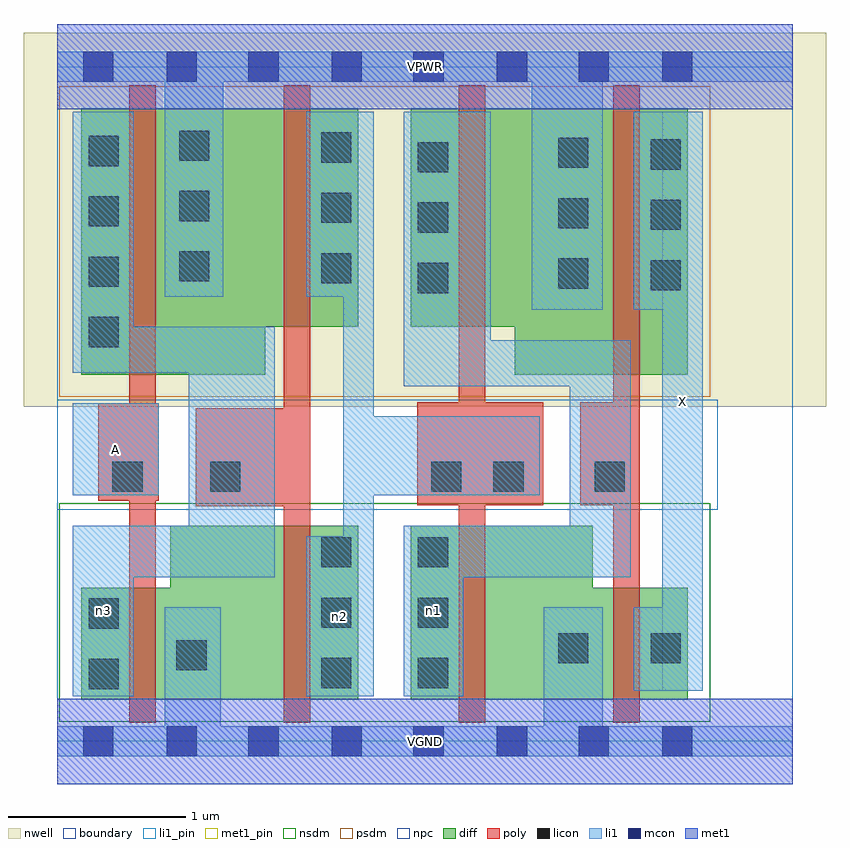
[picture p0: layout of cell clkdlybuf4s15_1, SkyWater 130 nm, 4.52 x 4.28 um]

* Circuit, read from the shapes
.subckt clkdlybuf4s15_1 A VGND VPWR X n1 n2 n3
XM1 VGND A n3 VSUBS sky130_fd_pr__nfet_01v8 w=0.63 l=0.15
XM2 n2 n3 VGND VSUBS sky130_fd_pr__nfet_01v8 w=0.98 l=0.15
XM3 VGND n2 n1 VSUBS sky130_fd_pr__nfet_01v8 w=0.98 l=0.15
XM4 X n1 VGND VSUBS sky130_fd_pr__nfet_01v8 w=0.63 l=0.15
XM5 VPWR A n3 n4 sky130_fd_pr__pfet_01v8 w=1.5 l=0.15
XM6 n2 n3 VPWR n4 sky130_fd_pr__pfet_01v8 w=1.23 l=0.15
XM7 VPWR n2 n1 n4 sky130_fd_pr__pfet_01v8 w=1.23 l=0.15
XM8 X n1 VPWR n4 sky130_fd_pr__pfet_01v8 w=1.5 l=0.15
.ends

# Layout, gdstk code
import gdstk
lib = gdstk.Library(unit=1e-6, precision=1e-09)
def R(c, l, rs):  # rectangles x0, y0, x1, y1
    for r in rs: c.add(gdstk.rectangle(r[:2], r[2:], *l))
def A(c, l, x, y, w, h, nx, ny, dx, dy):  # array of equal rectangles
    R(c, l, [(x+i*dx, y+j*dy, x+i*dx+w, y+j*dy+h) for i in range(nx) for j in range(ny)])
nwell = (64, 20)
diff = (65, 20)
poly = (66, 20)
licon = (66, 44)
li1_pin = (67, 16)
li1 = (67, 20)
mcon = (67, 44)
met1_pin = (68, 16)
met1 = (68, 20)
nsdm = (93, 44)
psdm = (94, 20)
npc = (95, 20)
boundary = (235, 4)

clkdlybuf4s15_1 = lib.new_cell('clkdlybuf4s15_1')
R(clkdlybuf4s15_1, nwell, [(-0.19,1.885,4.33,3.99), (0,1.885,4.14,3.99)])
R(clkdlybuf4s15_1, diff, [(0.135,0.235,1.695,0.865), (0.635,0.235,1.695,1.215), (1.99,0.235,3.55,0.865), (1.99,0.235,3.015,1.215), (0.135,2.065,1.17,3.565), (2.575,2.065,3.55,3.565), (0.135,2.335,1.695,3.565), (1.99,2.335,3.55,3.565)])
R(clkdlybuf4s15_1, poly, [(0.405,0.105,0.555,3.695), (1.275,0.105,1.425,3.695), (2.26,0.105,2.41,3.695), (3.13,0.105,3.28,3.695), (0.78,1.325,1.425,1.875), (2.025,1.33,2.735,1.91), (2.945,1.33,3.28,1.91), (0.23,1.355,0.57,1.905)])
A(clkdlybuf4s15_1, licon, 1.485, 0.3, 0.17, 0.17, 1, 3, 0, 0.34)
A(clkdlybuf4s15_1, licon, 2.03, 0.3, 0.17, 0.17, 1, 3, 0, 0.34)
A(clkdlybuf4s15_1, licon, 0.175, 2.22, 0.17, 0.17, 1, 4, 0, 0.34)
A(clkdlybuf4s15_1, licon, 2.03, 2.525, 0.17, 0.17, 1, 3, 0, 0.34)
A(clkdlybuf4s15_1, licon, 3.34, 2.54, 0.17, 0.17, 1, 3, 0, 0.34)
A(clkdlybuf4s15_1, licon, 2.82, 2.55, 0.17, 0.17, 1, 3, 0, 0.34)
A(clkdlybuf4s15_1, licon, 1.485, 2.58, 0.17, 0.17, 1, 3, 0, 0.34)
A(clkdlybuf4s15_1, licon, 0.685, 2.59, 0.17, 0.17, 1, 3, 0, 0.34)
R(clkdlybuf4s15_1, licon, [(0.175,0.295,0.345,0.465), (0.67,0.4,0.84,0.57), (2.82,0.44,2.99,0.61), (3.34,0.44,3.51,0.61), (0.175,0.635,0.345,0.805), (0.31,1.405,0.48,1.575), (0.86,1.405,1.03,1.575), (2.105,1.405,2.275,1.575), (2.455,1.405,2.625,1.575), (3.025,1.405,3.195,1.575)])
R(clkdlybuf4s15_1, li1_pin, [(3.405,0.285,3.635,3.545), (0.085,1.385,0.57,1.905)])
R(clkdlybuf4s15_1, li1, [(0,-0.085,4.14,0.085), (0.605,-0.085,0.92,0.755), (2.74,-0.085,3.07,0.755), (0.085,0.255,0.43,1.215), (1.4,0.255,1.78,1.155), (1.61,0.255,1.78,3.545), (1.95,0.255,2.285,1.215), (3.245,0.285,3.635,0.755), (3.405,0.285,3.635,3.545), (0.085,0.925,1.225,1.215), (0.74,0.925,1.225,2.335), (1.95,0.925,3.23,1.215), (2.885,0.925,3.23,2.26), (0.085,1.385,0.57,1.905), (1.61,1.385,2.715,1.83), (1.95,2,2.44,3.545), (1.95,2,3.23,2.26), (0.085,2.075,0.43,3.545), (0.085,2.075,1.225,2.335), (2.67,2.43,3.07,3.885), (3.245,2.43,3.635,3.545), (0.605,2.505,0.935,3.885), (1.4,2.505,1.78,3.545), (0,3.715,4.14,3.885)])
R(clkdlybuf4s15_1, mcon, [(0.145,-0.085,0.315,0.085), (0.615,-0.085,0.785,0.085), (1.075,-0.085,1.245,0.085), (1.545,-0.085,1.715,0.085), (2.005,-0.085,2.175,0.085), (2.475,-0.085,2.645,0.085), (2.935,-0.085,3.105,0.085), (3.405,-0.085,3.575,0.085), (0.145,3.715,0.315,3.885), (0.615,3.715,0.785,3.885), (1.075,3.715,1.245,3.885), (1.545,3.715,1.715,3.885), (2.005,3.715,2.175,3.885), (2.475,3.715,2.645,3.885), (2.935,3.715,3.105,3.885), (3.405,3.715,3.575,3.885)])
R(clkdlybuf4s15_1, met1_pin, [(0,-0.24,4.14,0.24), (0,3.56,4.14,4.04)])
R(clkdlybuf4s15_1, met1, [(0,-0.24,4.14,0.24), (0,3.56,4.14,4.04)])
R(clkdlybuf4s15_1, nsdm, [(0.01,0.11,3.675,1.34)])
R(clkdlybuf4s15_1, psdm, [(0.01,1.94,3.675,3.69)])
R(clkdlybuf4s15_1, npc, [(0,1.305,3.72,1.925)])
R(clkdlybuf4s15_1, boundary, [(0,0,4.14,3.8)])
clkdlybuf4s15_1.add(gdstk.Label('A', (0.327,1.645), layer=67, texttype=5))
clkdlybuf4s15_1.add(gdstk.Label('X', (3.52,1.915), layer=67, texttype=5))
clkdlybuf4s15_1.add(gdstk.Label('n3', (0.257,0.735), layer=67, texttype=5))
clkdlybuf4s15_1.add(gdstk.Label('n2', (1.59,0.705), layer=67, texttype=5))
clkdlybuf4s15_1.add(gdstk.Label('n1', (2.117,0.735), layer=67, texttype=5))
clkdlybuf4s15_1.add(gdstk.Label('VPWR', (2.07,3.8), layer=68, texttype=5))
clkdlybuf4s15_1.add(gdstk.Label('VGND', (2.07,0), layer=68, texttype=5))
clkdlybuf4s15_1.add(gdstk.Label('A', (0.327,1.645), layer=67, texttype=16))
clkdlybuf4s15_1.add(gdstk.Label('X', (3.52,1.915), layer=67, texttype=16))
clkdlybuf4s15_1.add(gdstk.Label('VPWR', (2.07,3.8), layer=68, texttype=16))
clkdlybuf4s15_1.add(gdstk.Label('VGND', (2.07,0), layer=68, texttype=16))

lib.write_gds('clkdlybuf4s15_1.gds')
